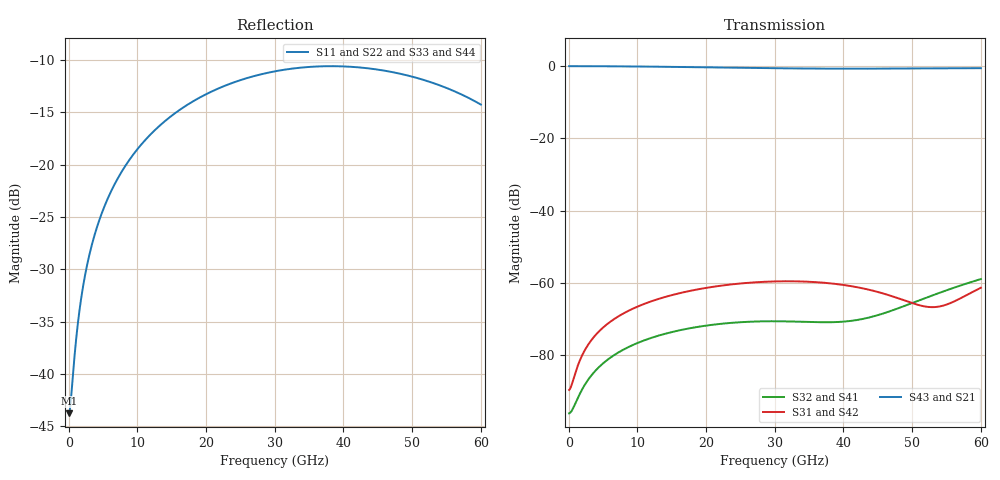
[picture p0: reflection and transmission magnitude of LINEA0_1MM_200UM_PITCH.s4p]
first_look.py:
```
"""First look at the coupled 1 mm pair (LINEA0_1MM_200UM_PITCH.s4p). Unvalidated: one length."""
import sys, numpy as np


import matplotlib; matplotlib.use("Agg"); import matplotlib.pyplot as plt

def load4(fn):
    rows = [l.split() for l in open(fn) if l.strip() and l[0] not in "!#"]
    vals = np.array([float(x) for r in rows for x in r])
    vals = vals.reshape(-1, 1 + 32)
    f = vals[:, 0]*1e9
    m, p = vals[:, 1::2], np.deg2rad(vals[:, 2::2])
    S = (m*np.exp(1j*p)).reshape(-1, 4, 4)   # Touchstone 4-port: row-major
    return f, S
f, S = load4("LINEA0_1MM_200UM_PITCH.s4p")
k = lambda GHz: np.argmin(abs(f-GHz*1e9))
db = lambda x: 20*np.log10(abs(x))
print("ports: |S21|, |S43| at 30 GHz:", abs(S[k(30),1,0]), abs(S[k(30),3,2]))
for G in (1, 10, 30, 60):
    i = k(G); s = S[i]
    print(f"{G:3d} GHz  S31 {db(s[2,0]):6.1f} dB  S41 {db(s[3,0]):6.1f} dB  "
          f"S32 {db(s[2,1]):6.1f}  S42 {db(s[3,1]):6.1f}   S11 {db(s[0,0]):6.1f}  S21 {db(s[1,0]):6.3f}")
# symmetry checks
print("max |S - S^T|:", np.max(abs(S-np.transpose(S,(0,2,1)))))
print("max |S11-S33|, |S21-S43|:", np.max(abs(S[:,0,0]-S[:,2,2])), np.max(abs(S[:,1,0]-S[:,3,2])))
np.savez("s4p.npz", f=f, S=S)
```
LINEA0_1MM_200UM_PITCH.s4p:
! TOUCHSTONE file generated by CST MICROWAVE STUDIO
! Date and time: Wed Oct 14 10:40:22 2026
! Project name: LINEA0_1MM_200UM_PITCH.cst
! Parameters = {CHANNEL_PITCH=0.2; GAP=0.00415; L=1; L1=0.02; L2=0.086; L3=0.066; NCELL=1; PITCH=0.18; START_POSITION=0.08; W1=0.003; W2=0.004; W3=0.009; WG=0.04985; gap_oxr=0.00125; linbo3_thickness=0.0002; mtx=0.002; oxiDinE=0.0014; w=0.15; ws=0.035}
! Header version: 2024
! Port assignment regex: !\s*Touchstone port\s*([0-9]+)\s*=\s*(CST MWS port|CST DES external port|CST DES block port)\s*(.+)\s* \(\"(.*)\"\)(\s*mode\s*([0-9]+))?.*
! Touchstone port assignment:
! Touchstone port 1 = CST MWS port 1 ("")
! Touchstone port 2 = CST MWS port 2 ("")
! Touchstone port 3 = CST MWS port 3 ("")
! Touchstone port 4 = CST MWS port 4 ("")
# GHz S MA R 50
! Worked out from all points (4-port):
!   1000 points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, 60 MHz to 60 GHz, reference 50 ohm
!   strongest paths, dB at 60 MHz, 15.06 GHz, 30.06 GHz, 45.06 GHz, 60 GHz:
!     S43: -0.1, -0.3, -0.6, -0.7, -0.6
!     S21: -0.1, -0.3, -0.6, -0.7, -0.6
!     S31: -89.6, -63.4, -59.6, -62.6, -61.4
!     S42: -89.6, -63.4, -59.6, -62.6, -61.4
!     S32: -96.1, -73.6, -70.6, -68.9, -59.0
!     S41: -96.1, -73.6, -70.6, -68.9, -59.0
!   lowest |S11| = -43.7 dB at 60 MHz (marker M1), VSWR 1.01, Z = 50.6 - j0.0756 ohm
!   |S11| at or under -10 dB: start of sweep to end of sweep
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0.06  0.006495 -6.6  0.9921 -0.2  3.3e-05 4.9  1.566e-05 176.4
      0.9921 -0.2  0.006495 -6.6  1.566e-05 176.4  3.3e-05 4.9
      3.3e-05 4.9  1.566e-05 176.4  0.006485 -6.6  0.9921 -0.2
      1.566e-05 176.4  3.3e-05 4.9  0.9921 -0.2  0.006485 -6.6
15.36  0.175 -123.6  0.9694 -38.4  0.0006892 48.8  0.0002121 20.7
       0.9694 -38.4  0.175 -123.6  0.0002121 20.7  0.0006892 48.8
       0.0006892 48.8  0.0002121 20.7  0.1751 -123.6  0.9694 -38.4
       0.0002121 20.7  0.0006892 48.8  0.9694 -38.4  0.1751 -123.6
60  0.1937 137.7  0.9306 -141.3  0.0008552 27.8  0.001127 -105.1
    0.9306 -141.3  0.1937 137.7  0.001127 -105.1  0.0008552 27.8
    0.0008552 27.8  0.001127 -105.1  0.1939 137.7  0.9307 -141.2
    0.001127 -105.1  0.0008552 27.8  0.9307 -141.2  0.1939 137.7
